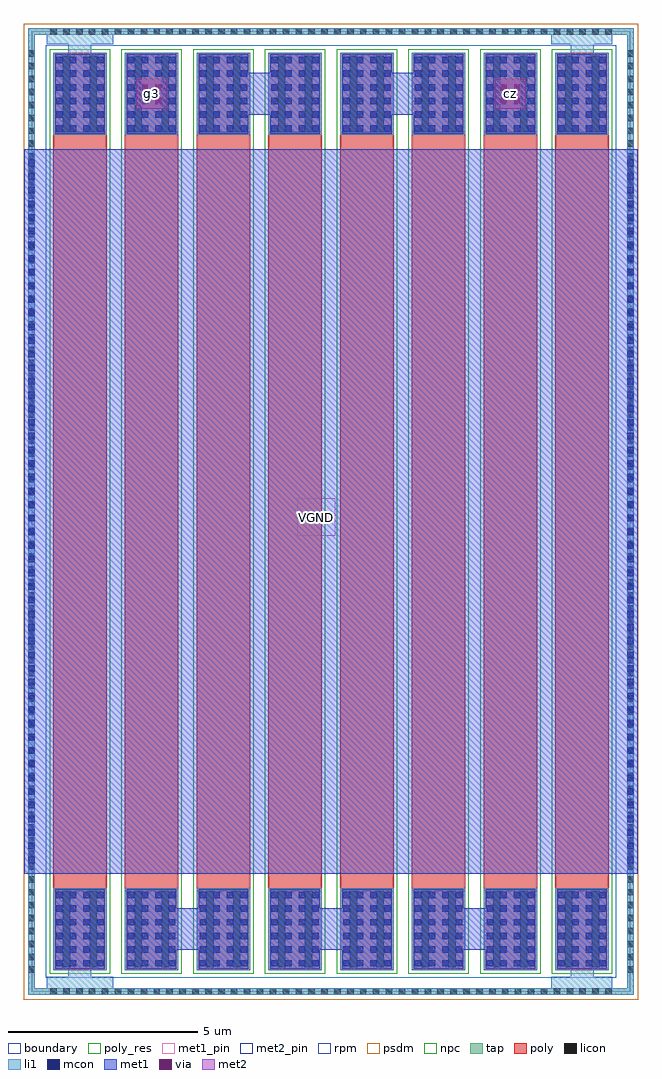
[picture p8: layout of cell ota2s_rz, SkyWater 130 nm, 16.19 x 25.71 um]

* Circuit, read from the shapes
.subckt ota2s_rz VGND cz g3
XR1 VGND VGND VGND sky130_fd_pr__res_high_po w=1.41 l=19.88 m=2
XR2 g3 ota2s_rz_arr_0/sky130_fd_pr__res_high_po_1p41_3TF3KG_0/R2_1 VGND sky130_fd_pr__res_high_po w=1.41 l=19.88
XR3 ota2s_rz_arr_0/sky130_fd_pr__res_high_po_1p41_3TF3KG_0/R1_2 ota2s_rz_arr_0/sky130_fd_pr__res_high_po_1p41_3TF3KG_0/R2_1 VGND sky130_fd_pr__res_high_po w=1.41 l=19.88
XR4 ota2s_rz_arr_0/sky130_fd_pr__res_high_po_1p41_3TF3KG_0/R1_2 ota2s_rz_arr_0/sky130_fd_pr__res_high_po_1p41_3TF3KG_0/R2_3 VGND sky130_fd_pr__res_high_po w=1.41 l=19.88
XR5 ota2s_rz_arr_0/sky130_fd_pr__res_high_po_1p41_3TF3KG_0/R1_4 ota2s_rz_arr_0/sky130_fd_pr__res_high_po_1p41_3TF3KG_0/R2_3 VGND sky130_fd_pr__res_high_po w=1.41 l=19.88
XR6 ota2s_rz_arr_0/sky130_fd_pr__res_high_po_1p41_3TF3KG_0/R1_4 ota2s_rz_arr_0/sky130_fd_pr__res_high_po_1p41_3TF3KG_0/R2_5 VGND sky130_fd_pr__res_high_po w=1.41 l=19.88
XR7 cz ota2s_rz_arr_0/sky130_fd_pr__res_high_po_1p41_3TF3KG_0/R2_5 VGND sky130_fd_pr__res_high_po w=1.41 l=19.88
.ends

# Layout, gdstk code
import gdstk
lib = gdstk.Library(unit=1e-6, precision=1e-09)
def R(c, l, rs):  # rectangles x0, y0, x1, y1
    for r in rs: c.add(gdstk.rectangle(r[:2], r[2:], *l))
def A(c, l, x, y, w, h, nx, ny, dx, dy):  # array of equal rectangles
    R(c, l, [(x+i*dx, y+j*dy, x+i*dx+w, y+j*dy+h) for i in range(nx) for j in range(ny)])
tap = (65, 44)
poly_res = (66, 13)
poly = (66, 20)
licon = (66, 44)
li1 = (67, 20)
mcon = (67, 44)
met1_pin = (68, 16)
met1 = (68, 20)
via = (68, 44)
met2_pin = (69, 16)
met2 = (69, 20)
rpm = (86, 20)
psdm = (94, 20)
npc = (95, 20)
boundary = (235, 4)

sky130_fd_pr__res_high_p = lib.new_cell('sky130_fd_pr__res_high_po_1p41_3TF3KG')
R(sky130_fd_pr__res_high_p, tap, [(-7.97,-12.73,7.97,-12.56), (-7.97,-12.56,-7.8,12.56), (7.8,-12.56,7.97,12.56), (-7.97,12.56,7.97,12.73)])
A(sky130_fd_pr__res_high_p, poly_res, -7.32, -10, 1.41, 20, 8, 1, 1.89, 0)
A(sky130_fd_pr__res_high_p, poly, -7.32, -12.08, 1.41, 24.16, 8, 1, 1.89, 0)
A(sky130_fd_pr__res_high_p, licon, -7.395, -12.73, 0.17, 0.17, 44, 2, 0.34, 25.29)
A(sky130_fd_pr__res_high_p, licon, -7.97, -12.155, 0.17, 0.17, 1, 72, 0, 0.34)
A(sky130_fd_pr__res_high_p, licon, 7.8, -12.155, 0.17, 0.17, 1, 72, 0, 0.34)
R(sky130_fd_pr__res_high_p, licon, [(-7.065,-12,-6.875,-10), (-6.355,-12,-6.165,-10), (-5.175,-12,-4.985,-10), (-4.465,-12,-4.275,-10), (-3.285,-12,-3.095,-10), (-2.575,-12,-2.385,-10), (-1.395,-12,-1.205,-10), (-0.685,-12,-0.495,-10), (0.495,-12,0.685,-10), (1.205,-12,1.395,-10), (2.385,-12,2.575,-10), (3.095,-12,3.285,-10), (4.275,-12,4.465,-10), (4.985,-12,5.175,-10), (6.165,-12,6.355,-10), (6.875,-12,7.065,-10), (-7.065,10,-6.875,12), (-6.355,10,-6.165,12), (-5.175,10,-4.985,12), (-4.465,10,-4.275,12), (-3.285,10,-3.095,12), (-2.575,10,-2.385,12), (-1.395,10,-1.205,12), (-0.685,10,-0.495,12), (0.495,10,0.685,12), (1.205,10,1.395,12), (2.385,10,2.575,12), (3.095,10,3.285,12), (4.275,10,4.465,12), (4.985,10,5.175,12), (6.165,10,6.355,12), (6.875,10,7.065,12)])
A(sky130_fd_pr__res_high_p, li1, -7.32, -12.08, 1.41, 2.16, 8, 2, 1.89, 22)
R(sky130_fd_pr__res_high_p, li1, [(-7.97,-12.73,7.97,-12.56), (-7.97,-12.56,-7.8,12.56), (7.8,-12.56,7.97,12.56), (-7.97,12.56,7.97,12.73)])
A(sky130_fd_pr__res_high_p, mcon, -7.24, -11.985, 0.17, 0.17, 4, 6, 0.36, 0.36)
A(sky130_fd_pr__res_high_p, mcon, -5.35, -11.985, 0.17, 0.17, 4, 6, 0.36, 0.36)
A(sky130_fd_pr__res_high_p, mcon, -3.46, -11.985, 0.17, 0.17, 4, 6, 0.36, 0.36)
A(sky130_fd_pr__res_high_p, mcon, -1.57, -11.985, 0.17, 0.17, 4, 6, 0.36, 0.36)
A(sky130_fd_pr__res_high_p, mcon, 0.32, -11.985, 0.17, 0.17, 4, 6, 0.36, 0.36)
A(sky130_fd_pr__res_high_p, mcon, 2.21, -11.985, 0.17, 0.17, 4, 6, 0.36, 0.36)
A(sky130_fd_pr__res_high_p, mcon, 4.1, -11.985, 0.17, 0.17, 4, 6, 0.36, 0.36)
A(sky130_fd_pr__res_high_p, mcon, 5.99, -11.985, 0.17, 0.17, 4, 6, 0.36, 0.36)
A(sky130_fd_pr__res_high_p, mcon, -7.24, 10.01, 0.17, 0.17, 4, 6, 0.36, 0.36)
A(sky130_fd_pr__res_high_p, mcon, -5.35, 10.01, 0.17, 0.17, 4, 6, 0.36, 0.36)
A(sky130_fd_pr__res_high_p, mcon, -3.46, 10.01, 0.17, 0.17, 4, 6, 0.36, 0.36)
A(sky130_fd_pr__res_high_p, mcon, -1.57, 10.01, 0.17, 0.17, 4, 6, 0.36, 0.36)
A(sky130_fd_pr__res_high_p, mcon, 0.32, 10.01, 0.17, 0.17, 4, 6, 0.36, 0.36)
A(sky130_fd_pr__res_high_p, mcon, 2.21, 10.01, 0.17, 0.17, 4, 6, 0.36, 0.36)
A(sky130_fd_pr__res_high_p, mcon, 4.1, 10.01, 0.17, 0.17, 4, 6, 0.36, 0.36)
A(sky130_fd_pr__res_high_p, mcon, 5.99, 10.01, 0.17, 0.17, 4, 6, 0.36, 0.36)
A(sky130_fd_pr__res_high_p, met1, -7.27, -12.05, 1.31, 2.105, 8, 2, 1.89, 21.995)
R(sky130_fd_pr__res_high_p, rpm, [(-7.52,-12.28,7.52,12.28)])
R(sky130_fd_pr__res_high_p, psdm, [(-8.095,-12.855,8.095,12.855)])
A(sky130_fd_pr__res_high_p, npc, -7.415, -12.175, 1.6, 24.35, 8, 1, 1.89, 0)
R(sky130_fd_pr__res_high_p, boundary, [(-7.885,-12.645,7.885,12.645)])
sky130_fd_pr__res_high_p.add(gdstk.Label('R2_7', (6.615,-11.905), layer=67, texttype=5))
sky130_fd_pr__res_high_p.add(gdstk.Label('R1_7', (6.615,11.905), layer=67, texttype=5))
sky130_fd_pr__res_high_p.add(gdstk.Label('R2_6', (4.725,-11.905), layer=67, texttype=5))
sky130_fd_pr__res_high_p.add(gdstk.Label('B', (0,-12.645), layer=67, texttype=5))
sky130_fd_pr__res_high_p.add(gdstk.Label('R1_0', (-6.615,11.905), layer=67, texttype=5))
sky130_fd_pr__res_high_p.add(gdstk.Label('R1_3', (-0.945,11.905), layer=67, texttype=5))
sky130_fd_pr__res_high_p.add(gdstk.Label('R1_1', (-4.725,11.905), layer=67, texttype=5))
sky130_fd_pr__res_high_p.add(gdstk.Label('R2_5', (2.835,-11.905), layer=67, texttype=5))
sky130_fd_pr__res_high_p.add(gdstk.Label('R2_0', (-6.615,-11.905), layer=67, texttype=5))
sky130_fd_pr__res_high_p.add(gdstk.Label('R2_1', (-4.725,-11.905), layer=67, texttype=5))
sky130_fd_pr__res_high_p.add(gdstk.Label('R2_2', (-2.835,-11.905), layer=67, texttype=5))
sky130_fd_pr__res_high_p.add(gdstk.Label('R1_6', (4.725,11.905), layer=67, texttype=5))
sky130_fd_pr__res_high_p.add(gdstk.Label('R2_3', (-0.945,-11.905), layer=67, texttype=5))
sky130_fd_pr__res_high_p.add(gdstk.Label('R1_2', (-2.835,11.905), layer=67, texttype=5))
sky130_fd_pr__res_high_p.add(gdstk.Label('R2_4', (0.945,-11.905), layer=67, texttype=5))
sky130_fd_pr__res_high_p.add(gdstk.Label('R1_5', (2.835,11.905), layer=67, texttype=5))
sky130_fd_pr__res_high_p.add(gdstk.Label('R1_4', (0.945,11.905), layer=67, texttype=5))

ota2s_rz_arr = lib.new_cell('ota2s_rz_arr')
R(ota2s_rz_arr, li1, [(0.4,0,2.15,0.39), (13.69,0,15.3,0.39), (0.97,0.39,1.57,0.8), (14.2,0.39,14.8,0.8), (-0.085,3.3,0.085,22), (15.685,3.3,15.855,22), (0.97,24.5,1.57,24.95), (14.2,24.5,14.8,24.95), (0.4,24.95,2.15,25.3), (13.69,24.95,15.3,25.3)])
A(ota2s_rz_arr, mcon, -0.085, 3.385, 0.17, 0.17, 1, 52, 0, 0.36)
A(ota2s_rz_arr, mcon, 15.685, 3.385, 0.17, 0.17, 1, 52, 0, 0.36)
R(ota2s_rz_arr, met1, [(-0.2,3.1,15.97,22.19), (2.76,23.25,3.56,24.05), (12.21,23.25,13.01,24.05)])
R(ota2s_rz_arr, via, [(2.925,23.415,3.075,23.565), (3.245,23.415,3.395,23.565), (12.375,23.415,12.525,23.565), (12.695,23.415,12.845,23.565), (2.925,23.735,3.075,23.885), (3.245,23.735,3.395,23.885), (12.375,23.735,12.525,23.885), (12.695,23.735,12.845,23.885)])
R(ota2s_rz_arr, met2, [(2.76,23.25,3.56,24.05), (12.21,23.25,13.01,24.05)])
ota2s_rz_arr.add(gdstk.Reference(sky130_fd_pr__res_high_p, (7.885,12.645)))

ota2s_rz = lib.new_cell('ota2s_rz')
R(ota2s_rz, met1_pin, [(7,12,8,13)])
A(ota2s_rz, met1, 3.16, 1.1, 1.89, 1.1, 3, 1, 3.78, 0)
R(ota2s_rz, met1, [(7,12,8,13), (5.05,23.1,6.94,24.2), (8.83,23.1,10.72,24.2)])
R(ota2s_rz, met2_pin, [(2.76,23.25,3.56,24.05), (12.21,23.25,13.01,24.05)])
R(ota2s_rz, met2, [(2.76,23.25,3.56,24.05), (12.21,23.25,13.01,24.05)])
ota2s_rz.add(gdstk.Reference(ota2s_rz_arr, (0,0)))
ota2s_rz.add(gdstk.Label('cz', (12.61,23.65), layer=69, texttype=5))
ota2s_rz.add(gdstk.Label('g3', (3.16,23.65), layer=69, texttype=5))
ota2s_rz.add(gdstk.Label('VGND', (7.5,12.5), layer=68, texttype=5))

lib.write_gds('ota2s_rz.gds')
